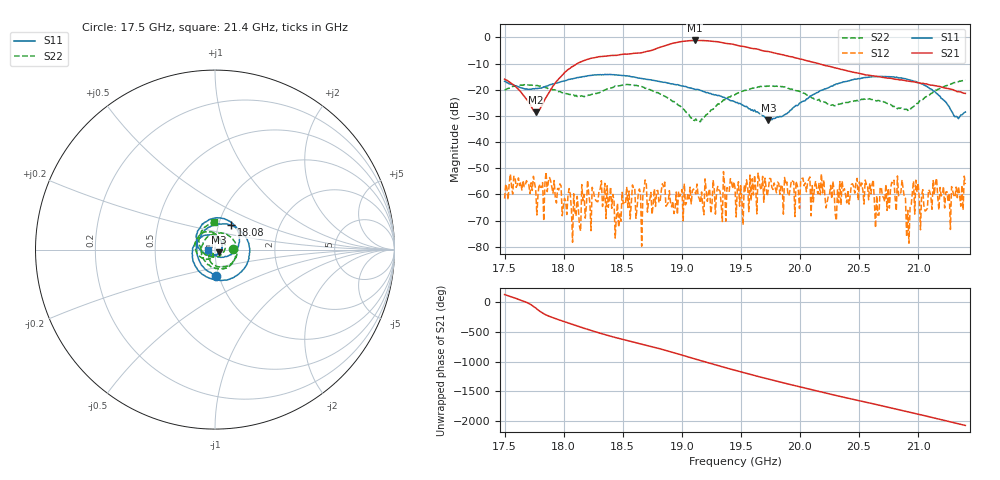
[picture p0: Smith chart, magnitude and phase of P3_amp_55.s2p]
!Created with skrf (http://scikit-rf.org).
# GHz S RI R 50.0
!freq ReS11 ImS11 ReS21 ImS21 ReS12 ImS12 ReS22 ImS22
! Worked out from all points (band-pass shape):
!   401 points, 17.5 GHz to 21.4 GHz, reference 50 ohm
!   highest |S21| = -1.17 dB at 19.11 GHz (marker M1); lowest = -28.6 dB at 17.76 GHz (marker M2)
!   |S21| within 3 dB of the highest: 18.79 GHz to 19.59 GHz (799.2 MHz wide, 4.16 % of centre)
!   lowest |S11| = -31.6 dB at 19.73 GHz (marker M3), VSWR 1.05, Z = 52.1 - j1.6 ohm
!   |S11| at or under -10 dB: start of sweep to end of sweep
!   |S22| runs from -32.2 to -16.2 dB; largest |S21 - S12| = 0.87
!   S11 on the Smith chart (normalised r, x): 17.5 GHz: 0.97, -0.29; 18.08 GHz: 1.15, +0.32; 21.4 GHz: 0.93, +0.00
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17.5  0.00825 -0.1446  -0.0787 0.1392  -0.000333 0.000765  0.0982 0.000935
17.76325  -0.1006 0.0329  -0.00912 -0.0362  0.000493 0.00114  0.0668 -0.0998
18.07525  0.089 0.135  0.2596 -0.0998  0.000117 -3.25e-05  -0.0729 -0.0314
18.15325  0.1409 0.1045  0.1097 -0.3282  0.00126 -0.000886  -0.0742 0.0177
18.32875  0.192 -0.0293  -0.4329 -0.00618  0.000132 0.000574  0.0193 0.0918
18.4555  0.1402 -0.1283  -0.1735 0.4227  0.000613 -0.00028  0.1053 0.0501
18.514  0.0988 -0.1577  0.0749 0.4736  0.000693 -0.000179  0.1254 -9.16e-05
18.8065  -0.1068 -0.0967  0.2903 -0.5683  -0.000457 -0.000523  -0.00829 -0.085
18.99175  -0.1171 0.0211  -0.8076 -0.1891  -0.000394 0.000988  -0.0333 -0.0338
19.10875  -0.0743 0.0705  -0.4945 0.7209  -0.000794 0.000773  -0.0174 -0.0189
19.294  0.001 0.0789  0.7875 0.2593  0.000921 0.000591  -0.0201 -0.0457
19.45  0.0337 0.0479  0.2734 -0.6716  0.00113 0.000731  -0.0643 -0.0479
19.606  0.038 0.009  -0.5189 -0.3193  0.000609 -0.000767  -0.1079 -0.00185
19.73275  0.0212 -0.0153  -0.4538 0.2886  0.00118 -0.000486  -0.1022 0.0579
19.94725  -0.0336 -0.0318  0.3155 0.2706  -0.000313 -0.00171  -0.0213 0.0991
20.10325  -0.0788 -0.00616  0.2801 -0.1909  -0.000316 -0.00144  0.0132 0.0684
20.386  -0.0912 0.1103  -0.2267 -0.0611  -0.000932 0.000254  0.0118 0.0557
20.7565  0.0858 0.1554  0.1408 0.0889  -9.25e-05 -0.00054  0.0529 -0.00491
20.8735  0.1277 0.1038  0.1408 -0.0551  0.00125 9.94e-05  0.0164 -0.0393
20.92225  0.1336 0.0775  0.1052 -0.1013  -7.25e-05 9.17e-05  -0.00747 -0.0421
20.98075  0.1366 0.0436  0.0448 -0.1314  0.00178 -0.000574  -0.0378 -0.0353
21.4  -0.0375 0.000145  -0.00179 0.085  -0.0013 -0.000886  -0.00745 0.1542
